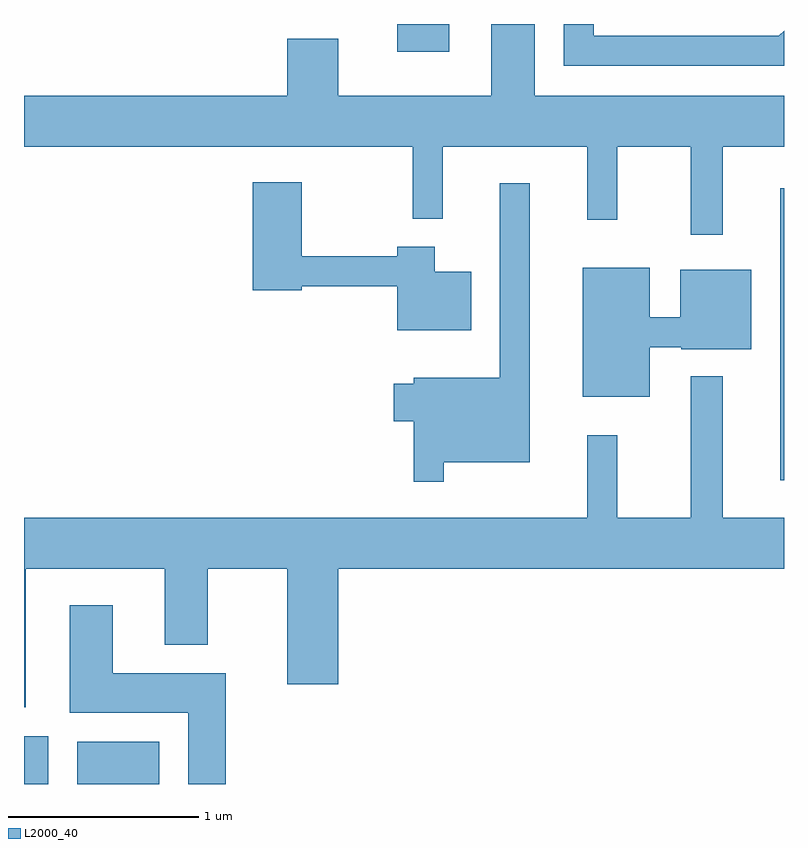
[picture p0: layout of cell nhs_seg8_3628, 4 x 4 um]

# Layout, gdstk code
import gdstk
lib = gdstk.Library(unit=1e-6, precision=1e-09)
def R(c, l, rs):  # rectangles x0, y0, x1, y1
    for r in rs: c.add(gdstk.rectangle(r[:2], r[2:], *l))
def P(c, l, *ps):  # polygons
    for p in ps: c.add(gdstk.Polygon(p, *l))
L2000_40 = (2000, 40)

nhs_seg8_3628 = lib.new_cell('nhs_seg8_3628')
R(nhs_seg8_3628, L2000_40, [(293.611,1886.342,293.739,1886.594), (293.891,1886.342,294.324,1886.564), (297.591,1887.941,297.611,1889.478), (295.576,1890.196,295.848,1890.342)])
P(nhs_seg8_3628, L2000_40, [(297.289,1889.696),(297.611,1889.696),(297.611,1889.964),(296.299,1889.964),(296.299,1890.342),(296.071,1890.342),(296.071,1889.964),(295.264,1889.964),(295.264,1890.264),(294.996,1890.264),(294.996,1889.964),(293.611,1889.964),(293.611,1889.696),(295.656,1889.696),(295.656,1889.318),(295.814,1889.318),(295.814,1889.696),(296.576,1889.696),(296.576,1889.313),(296.734,1889.313),(296.734,1889.696),(297.121,1889.696),(297.121,1889.233),(297.289,1889.233)],
  [(297.611,1890.306),(297.584,1890.279),(296.609,1890.279),(296.609,1890.342),(296.451,1890.342),(296.451,1890.121),(297.611,1890.121)],
  [(295.964,1889.039),(295.774,1889.039),(295.774,1889.169),(295.576,1889.169),(295.576,1889.119),(295.074,1889.119),(295.074,1889.509),(294.816,1889.509),(294.816,1888.941),(295.074,1888.941),(295.074,1888.961),(295.576,1888.961),(295.576,1888.731),(295.964,1888.731)],
  [(295.819,1888.036),(296.274,1888.036),(296.274,1889.503),(296.116,1889.503),(296.116,1888.479),(295.661,1888.479),(295.661,1888.449),(295.556,1888.449),(295.556,1888.251),(295.661,1888.251),(295.661,1887.933),(295.819,1887.933)],
  [(296.904,1888.641),(297.07,1888.641),(297.07,1888.631),(297.439,1888.631),(297.439,1889.049),(297.066,1889.049),(297.066,1888.799),(296.904,1888.799),(296.904,1889.059),(296.551,1889.059),(296.551,1888.381),(296.904,1888.381)],
  [(293.619,1887.476),(294.351,1887.476),(294.351,1887.076),(294.579,1887.076),(294.579,1887.476),(294.996,1887.476),(294.996,1886.866),(295.264,1886.866),(295.264,1887.476),(297.611,1887.476),(297.611,1887.744),(297.289,1887.744),(297.289,1888.488),(297.121,1888.488),(297.121,1887.744),(296.734,1887.744),(296.734,1888.178),(296.576,1888.178),(296.576,1887.744),(293.611,1887.744),(293.611,1886.746),(293.619,1886.746)],
  [(294.674,1886.924),(294.079,1886.924),(294.079,1887.284),(293.851,1887.284),(293.851,1886.716),(294.476,1886.716),(294.476,1886.342),(294.674,1886.342)])

lib.write_gds('nhs_seg8_3628.gds')
